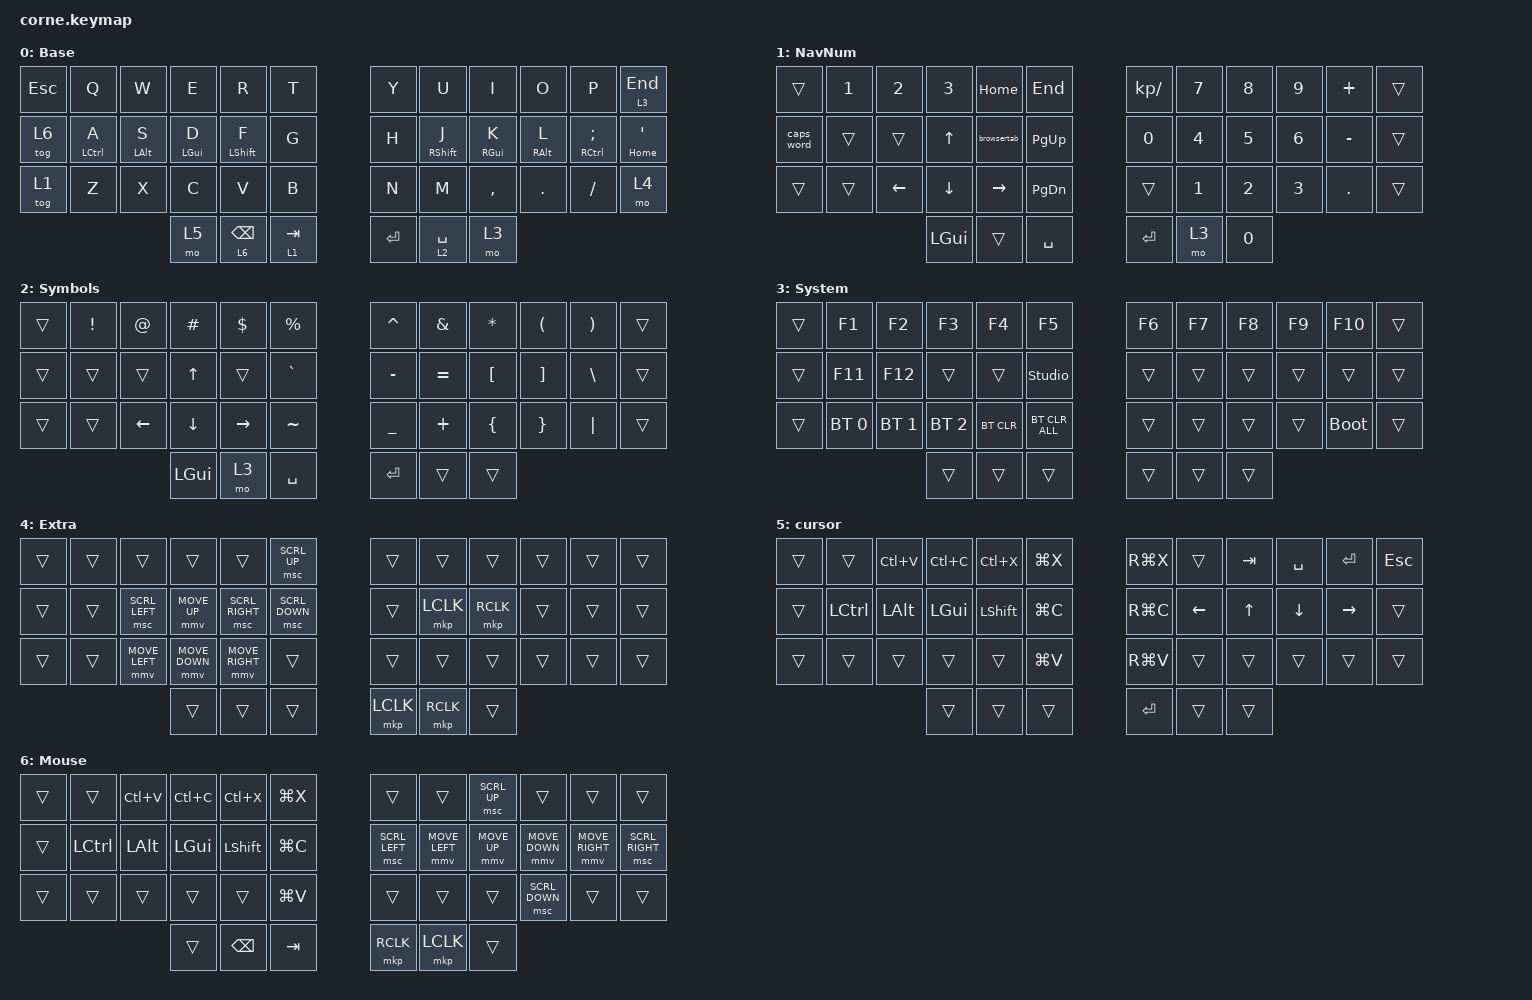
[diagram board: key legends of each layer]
#include <behaviors.dtsi>
#include <dt-bindings/zmk/bt.h>
#include <dt-bindings/zmk/keys.h>
#include <dt-bindings/zmk/pointing.h>

#define DEF 0
#define NAV 1
#define SYM 2
#define ADJ 3
#define EXTRA 4

/ {
    behaviors {
        hm: homerow_mods {
            compatible = "zmk,behavior-hold-tap";
            #binding-cells = <2>;
            tapping-term-ms = <200>;
            flavor = "tap-preferred";
            bindings = <&kp>, <&kp>;

            quick-tap-ms = <180>;
            require-prior-idle-ms = <120>; /* tune to taste */
        };

        para: para {
            compatible = "zmk,behavior-tap-dance";
            #binding-cells = <0>;
            bindings = <&kp LEFT_PARENTHESIS>, <&kp RIGHT_PARENTHESIS>;
        };

        caps: caps {
            compatible = "zmk,behavior-caps-word";
            #binding-cells = <0>;
            continue-list = <MINUS BACKSPACE>;
        };

        paraless: paraless {
            compatible = "zmk,behavior-mod-morph";
            bindings = <&kp LEFT_PARENTHESIS>, <&kp LESS_THAN>;

            #binding-cells = <0>;
            mods = <(MOD_LSFT)>;
        };

        paragreat: paragreat {
            compatible = "zmk,behavior-mod-morph";
            bindings = <&kp RIGHT_PARENTHESIS>, <&kp GREATER_THAN>;

            #binding-cells = <0>;
            mods = <(MOD_LSFT)>;
        };
    };

    macros {
        browsertab: browsertab {
            compatible = "zmk,behavior-macro";
            #binding-cells = <0>;
            bindings =
                <&macro_press>,
                <&kp LCTRL>,
                <&macro_tap>,
                <&kp TAB>,
                <&macro_release>,
                <&kp LCTRL>;
        };
    };

    combos {
        compatible = "zmk,combos";

        escape {
            bindings = <&kp ESCAPE>;
            key-positions = <13 29>;
        };

        delete {
            bindings = <&kp DELETE>;
            key-positions = <15 21>;
        };

        perc {
            bindings = <&kp PERCENT>;
            key-positions = <5 17>;
            layers = <0>;
        };

        equal {
            bindings = <&kp EQUAL>;
            key-positions = <28 16>;
            layers = <0>;
        };

        dollar {
            bindings = <&kp DOLLAR>;
            key-positions = <4 16>;
            layers = <0>;
        };

        pound {
            bindings = <&kp POUND>;
            key-positions = <3 15>;
            layers = <0>;
        };

        at {
            bindings = <&kp EXCL>;
            key-positions = <2 14>;
            layers = <0>;
        };

        backslash {
            bindings = <&kp BACKSLASH>;
            key-positions = <26 14>;
            layers = <0>;
        };

        star {
            bindings = <&kp STAR>;
            key-positions = <8 20>;
            layers = <0>;
        };

        slash {
            bindings = <&kp SLASH>;
            key-positions = <32 20>;
            layers = <0>;
        };

        plus {
            bindings = <&kp PLUS>;
            key-positions = <7 19>;
            layers = <0>;
        };

        minus {
            bindings = <&kp KP_MINUS>;
            key-positions = <31 19>;
            layers = <0>;
        };

        underscore {
            bindings = <&kp UNDER>;
            key-positions = <30 18>;
            layers = <0>;
        };

        leftbrack {
            bindings = <&kp LEFT_BRACKET>;
            key-positions = <31 32>;
            layers = <0>;
        };

        rightbrack {
            bindings = <&kp RIGHT_BRACKET>;
            key-positions = <33 32>;
            layers = <0>;
        };

        para-less {
            bindings = <&paraless>;
            key-positions = <20 19>;
            layers = <0>;
        };

        para-great {
            bindings = <&paragreat>;
            key-positions = <20 21>;
            layers = <0>;
        };
    };

    //

    keymap {
        compatible = "zmk,keymap";

        DEF {
            display-name = "Base";

            // -----------------------------------------------------------------------------------------
            // |  Q  |  W  |  E  |  R  |  T  |   |  Y  |  U   |  I  |  O  |  P  |
            // |  A  |  S  |  D  |  F  |  G  |   |  H  |  J   |  K  |  L  |  ;  |
            // |  Z  |  X  |  C  |  V  |  B  |   |  N  |  M   |  ,  |  .  |  /  |
            // | GUI | CTRL | SHFT | LWR | SPC |   | ENT | RSE  | BKSP | ALT | ESC |

            bindings = <
&kp ESCAPE  &kp Q               &kp W           &kp E           &kp R             &kp T        &kp Y    &kp U              &kp I            &kp O            &kp P                   &lt 3 END
&tog 6      &hm LEFT_CONTROL A  &hm LEFT_ALT S  &hm LEFT_GUI D  &mt LEFT_SHIFT F  &kp G        &kp H    &hm RIGHT_SHIFT J  &hm RIGHT_GUI K  &hm RIGHT_ALT L  &hm RIGHT_CONTROL SEMI  &mt HOME SQT
&tog 1      &kp Z               &kp X           &kp C           &kp V             &kp B        &kp N    &kp M              &kp COMMA        &kp DOT          &kp FSLH                &mo 4
                                                &mo 5           &lt 6 BACKSPACE   &lt 1 TAB    &kp RET  &lt 2 SPACE        &mo 3
            >;
        };

        NAV {
            display-name = "NavNum";

            // -----------------------------------------------------------------------------------------
            // |  TAB |  1  |  2  |  3  |  4  |  5  |   |  6  |  7  |  8  |  9  |  0  | BKSP |
            // | BTCLR| BT1 | BT2 | BT3 | BT4 | BT5 |   | LFT | DWN |  UP | RGT |     |      |
            // | SHFT |     |     |     |     |     |   |     |     |     |     |     |      |
            // | GUI | CTRL | SHFT | LWR | SPC |   | ENT | RSE  | BKSP | ALT | ESC |

            bindings = <
&trans      &kp N1  &kp N2    &kp N3        &kp HOME         &kp END          &kp KP_DIVIDE  &kp N7  &kp N8        &kp N9  &kp PLUS    &trans
&caps_word  &trans  &trans    &kp UP_ARROW  &browsertab      &kp PAGE_UP      &kp N0         &kp N4  &kp N5        &kp N6  &kp MINUS   &trans
&trans      &trans  &kp LEFT  &kp DOWN      &kp RIGHT_ARROW  &kp PAGE_DOWN    &trans         &kp N1  &kp N2        &kp N3  &kp PERIOD  &trans
                              &kp LGUI      &trans           &kp SPACE        &kp RET        &mo 3   &kp NUMBER_0
            >;
        };

        SYM {
            display-name = "Symbols";

            // -----------------------------------------------------------------------------------------
            // |  TAB |  !  |  @  |  #  |  $  |  %  |   |  ^  |  &  |  *  |  (  |  )  | BKSP |
            // | CTRL |     |     |     |     |     |   |  -  |  =  |  [  |  ]  |  \  |  `   |
            // | SHFT |     |     |     |     |     |   |  _  |  +  |  {  |  }  | "|" |  ~   |
            //                    | GUI |     | SPC |   | ENT |     | ALT |

            bindings = <
&trans  &kp EXCL  &kp AT          &kp HASH        &kp DLLR         &kp PRCNT    &kp CARET  &kp AMPS   &kp ASTRK  &kp LEFT_PARENTHESIS  &kp RPAR  &trans
&trans  &trans    &trans          &kp UP_ARROW    &trans           &kp GRAVE    &kp MINUS  &kp EQUAL  &kp LBKT   &kp RBKT              &kp BSLH  &trans
&trans  &trans    &kp LEFT_ARROW  &kp DOWN_ARROW  &kp RIGHT_ARROW  &kp TILDE    &kp UNDER  &kp PLUS   &kp LBRC   &kp RBRC              &kp PIPE  &trans
                                  &kp LGUI        &mo 3            &kp SPACE    &kp RET    &trans     &trans
            >;
        };

        ADJ {
            display-name = "System";
            bindings = <
&trans  &kp F1        &kp F2        &kp F3        &kp F4      &kp F5            &kp F6  &kp F7  &kp F8  &kp F9  &kp F10      &trans
&trans  &kp F11       &kp F12       &trans        &trans      &studio_unlock    &trans  &trans  &trans  &trans  &trans       &trans
&trans  &bt BT_SEL 0  &bt BT_SEL 1  &bt BT_SEL 2  &bt BT_CLR  &bt BT_CLR_ALL    &trans  &trans  &trans  &trans  &bootloader  &trans
                                    &trans        &trans      &trans            &trans  &trans  &trans
            >;
        };

        EXTRA {
            display-name = "Extra";
            bindings = <
&trans  &trans  &trans          &trans          &trans           &msc SCRL_UP      &trans     &trans     &trans     &trans  &trans  &trans
&trans  &trans  &msc SCRL_LEFT  &mmv MOVE_UP    &msc SCRL_RIGHT  &msc SCRL_DOWN    &trans     &mkp LCLK  &mkp RCLK  &trans  &trans  &trans
&trans  &trans  &mmv MOVE_LEFT  &mmv MOVE_DOWN  &mmv MOVE_RIGHT  &trans            &trans     &trans     &trans     &trans  &trans  &trans
                                &trans          &trans           &trans            &mkp LCLK  &mkp RCLK  &trans
            >;
        };

        cursor {
            bindings = <
&trans  &trans     &kp LC(V)  &kp LC(C)  &kp LC(X)       &kp LG(X)    &kp RG(X)  &trans          &kp TAB       &kp SPACE       &kp ENTER        &kp ESCAPE
&trans  &kp LCTRL  &kp LALT   &kp LGUI   &kp LEFT_SHIFT  &kp LG(C)    &kp RG(C)  &kp LEFT_ARROW  &kp UP_ARROW  &kp DOWN_ARROW  &kp RIGHT_ARROW  &trans
&trans  &trans     &trans     &trans     &trans          &kp LG(V)    &kp RG(V)  &trans          &trans        &trans          &trans           &trans
                              &trans     &trans          &trans       &kp ENTER  &trans          &trans
            >;
        };

        Mouse {
            bindings = <
&trans  &trans            &kp LC(V)     &kp LC(C)     &kp LC(X)       &kp LG(X)    &trans          &trans          &msc SCRL_UP  &trans          &trans           &trans
&trans  &kp LEFT_CONTROL  &kp LEFT_ALT  &kp LEFT_GUI  &kp LEFT_SHIFT  &kp LG(C)    &msc SCRL_LEFT  &mmv MOVE_LEFT  &mmv MOVE_UP  &mmv MOVE_DOWN  &mmv MOVE_RIGHT  &msc SCRL_RIGHT
&trans  &trans            &trans        &trans        &trans          &kp LG(V)    &trans          &trans          &trans        &msc SCRL_DOWN  &trans           &trans
                                        &trans        &kp BACKSPACE   &kp TAB      &mkp RCLK       &mkp LCLK       &trans
            >;
        };
    };
};
